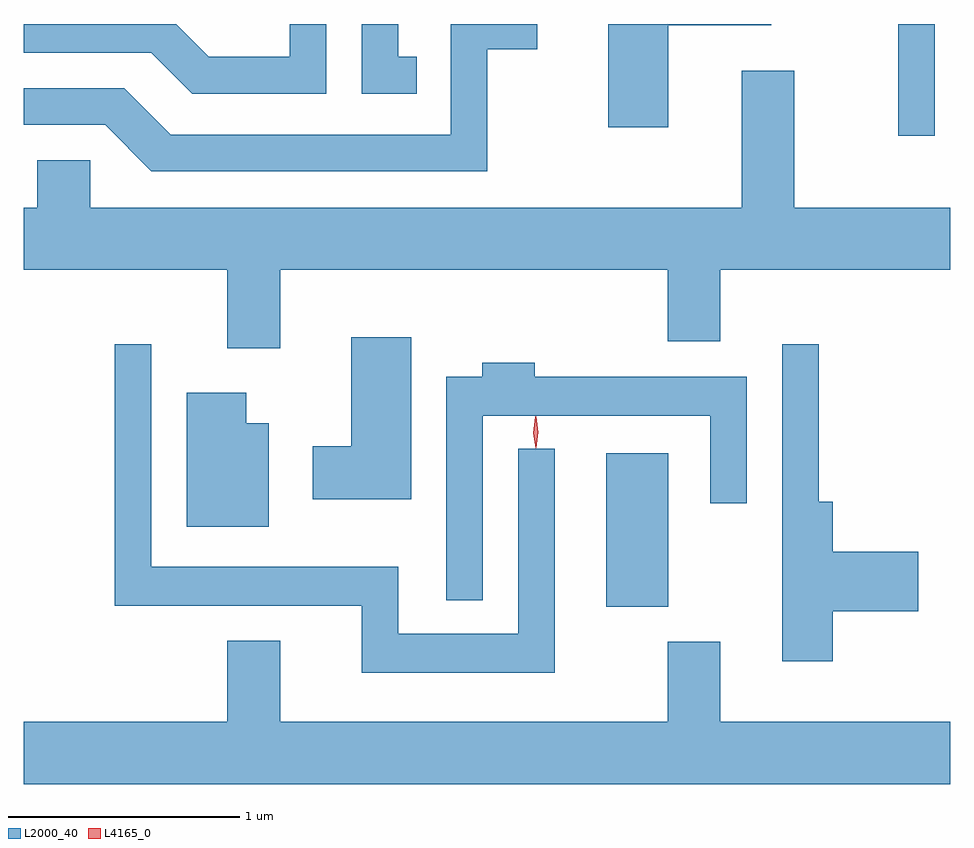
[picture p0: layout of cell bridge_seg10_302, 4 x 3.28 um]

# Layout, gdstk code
import gdstk
lib = gdstk.Library(unit=1e-6, precision=1e-09)
def R(c, l, rs):  # rectangles x0, y0, x1, y1
    for r in rs: c.add(gdstk.rectangle(r[:2], r[2:], *l))
def P(c, l, *ps):  # polygons
    for p in ps: c.add(gdstk.Polygon(p, *l))
L2000_40 = (2000, 40)
L4165_0 = (4165, 0)

bridge_seg10_302 = lib.new_cell('bridge_seg10_302')
R(bridge_seg10_302, L2000_40, [(1427.376,2159.081,1427.644,2159.744), (1428.636,2161.113,1428.794,2161.596)])
P(bridge_seg10_302, L2000_40, [(1426.558,2161.454),(1426.479,2161.454),(1426.479,2161.596),(1426.321,2161.596),(1426.321,2161.296),(1426.558,2161.296)],
  [(1426.169,2161.596),(1426.011,2161.596),(1426.011,2161.454),(1425.662,2161.454),(1425.52,2161.596),(1424.862,2161.596),(1424.862,2161.471),(1425.414,2161.471),(1425.589,2161.296),(1426.169,2161.296)],
  [(1426.864,2161.486),(1427.079,2161.486),(1427.079,2161.596),(1426.706,2161.596),(1426.706,2161.119),(1425.497,2161.119),(1425.297,2161.319),(1424.862,2161.319),(1424.862,2161.161),(1425.214,2161.161),(1425.414,2160.961),(1426.864,2160.961)],
  [(1427.644,2161.591),(1428.088,2161.591),(1428.088,2161.596),(1427.386,2161.596),(1427.386,2161.151),(1427.644,2161.151)],
  [(1425.969,2160.536),(1427.641,2160.536),(1427.641,2160.226),(1427.869,2160.226),(1427.869,2160.536),(1428.862,2160.536),(1428.862,2160.804),(1428.189,2160.804),(1428.189,2161.394),(1427.961,2161.394),(1427.961,2160.804),(1425.149,2160.804),(1425.149,2161.009),(1424.921,2161.009),(1424.921,2160.804),(1424.862,2160.804),(1424.862,2160.536),(1425.741,2160.536),(1425.741,2160.196),(1425.969,2160.196)],
  [(1426.534,2160.244),(1426.276,2160.244),(1426.276,2159.774),(1426.111,2159.774),(1426.111,2159.546),(1426.534,2159.546)],
  [(1427.154,2159.763),(1426.996,2159.763),(1426.996,2158.964),(1426.479,2158.964),(1426.479,2159.254),(1425.414,2159.254),(1425.414,2160.213),(1425.256,2160.213),(1425.256,2159.086),(1426.321,2159.086),(1426.321,2158.796),(1427.154,2158.796)],
  [(1428.354,2159.061),(1428.724,2159.061),(1428.724,2159.319),(1428.354,2159.319),(1428.354,2159.534),(1428.294,2159.534),(1428.294,2160.213),(1428.136,2160.213),(1428.136,2158.846),(1428.354,2158.846)],
  [(1426.844,2159.906),(1427.826,2159.906),(1427.826,2159.528),(1427.984,2159.528),(1427.984,2160.074),(1427.069,2160.074),(1427.069,2160.134),(1426.841,2160.134),(1426.841,2160.074),(1426.686,2160.074),(1426.686,2159.108),(1426.844,2159.108)],
  [(1425.919,2159.874),(1425.824,2159.874),(1425.824,2160.004),(1425.566,2160.004),(1425.566,2159.426),(1425.919,2159.426)],
  [(1428.862,2158.584),(1427.869,2158.584),(1427.869,2158.929),(1427.641,2158.929),(1427.641,2158.584),(1425.969,2158.584),(1425.969,2158.934),(1425.741,2158.934),(1425.741,2158.584),(1424.862,2158.584),(1424.862,2158.316),(1428.862,2158.316)])
P(bridge_seg10_302, L4165_0, [(1427.073,2159.767),(1427.064,2159.834),(1427.073,2159.9),(1427.074,2159.901),(1427.074,2159.9),(1427.084,2159.834),(1427.074,2159.767),(1427.074,2159.767)],
  [(1427.072,2159.764),(1427.072,2159.764),(1427.062,2159.833),(1427.071,2159.902),(1427.072,2159.903),(1427.072,2159.902),(1427.082,2159.833),(1427.073,2159.764)])

lib.write_gds('bridge_seg10_302.gds')
